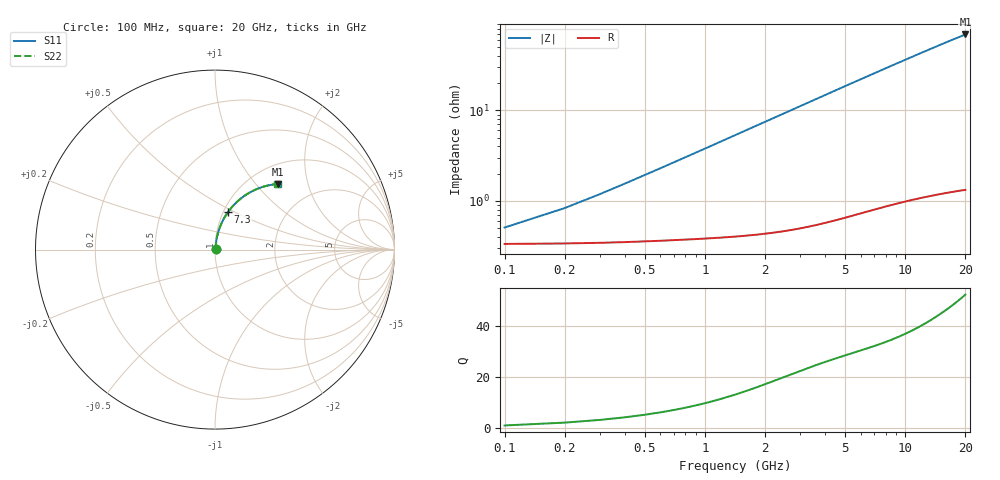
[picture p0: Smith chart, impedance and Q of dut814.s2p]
! Touchstone file exported from HFSS 2026.1.0
!  File:  C:/ffzhzh/LocalFiles/Ansys_Project_Files/temp_train_BSMRDL_814_1783169953_18472.aedt
!  Generated:  09:00:26 PM Jul  4, 2026
!  Design:  BSMRDL
!  Project:  temp_train_BSMRDL_814_1783169953_18472
! Variables:
!  h_bsmrdl = 5.13um
!  h_ox = 20um
!  h_rdl = 5um
!  h_sub = 80um
!  h_tmrdl = 5um
!  h_tsv = 80um
!  h_via = 3um
!  l_bsmrdl = 522.44um
!  l_sub = 922.44um
!  l_tmrdl = 200um
!  m_sub = 200um
!  pitch = 58.15um
!  r_tsv = 6um
!  s_tmrdl = 10um
!  w_bsmrdl = 10.93um
!  w_sub = 500um
!  w_tmrdl = 12um
!  x_tsv_center1 = 206um
!  x_tsv_center2 = 739.37um
!  x_tsv_center3 = 951.37um
!  x_tsv_center4 = 1484.74um
!  x_tsv_center5 = 1696.74um
!  x_tsv_center6 = 2230.11um
# GHz S MA R 50.000000
! Terminal data exported
! Port[1] = BSM_RDL1_1_T1
! Port[2] = BSM_RDL1_1_T2
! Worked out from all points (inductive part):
!   200 points, 100 MHz to 20 GHz, reference 50 ohm
!   read as one part in series: L = 604 pH near 300 MHz
!   highest Q = 52.2 at 20 GHz (marker M1), where L = 549 pH
!   S11 on the Smith chart (normalised r, x): 100 MHz: 1.01, +0.01; 7.3 GHz: 1.05, +0.47; 20 GHz: 1.34, +1.31
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0.1  0.004684 44.4  0.9967 -0.2  0.9967 -0.2  0.004684 44.4
! Gamma 0 0 0 0
! Port Impedance 50 0 50 0
0.2  0.007388 62.4  0.9966 -0.5  0.9966 -0.5  0.007388 62.4
0.3  0.01042 70.1  0.9965 -0.7  0.9965 -0.7  0.01042 70.1
0.4  0.01354 74.1  0.9964 -1.0  0.9964 -1.0  0.01354 74.1
0.5  0.0167 76.5  0.9963 -1.2  0.9963 -1.2  0.0167 76.5
0.7  0.02304 79.1  0.9961 -1.7  0.9961 -1.7  0.02304 79.1
0.8  0.02621 79.9  0.996 -2.0  0.996 -2.0  0.02621 79.9
1  0.03255 80.8  0.9957 -2.4  0.9957 -2.4  0.03255 80.8
1.4  0.04523 81.5  0.995 -3.4  0.995 -3.4  0.04523 81.5
1.7  0.05473 81.5  0.9944 -4.1  0.9944 -4.1  0.05472 81.5
2  0.0642 81.3  0.9937 -4.8  0.9937 -4.8  0.06419 81.3
2.7  0.08615 80.3  0.9916 -6.5  0.9916 -6.5  0.08615 80.3
3.5  0.1109 78.8  0.9886 -8.4  0.9886 -8.4  0.1109 78.8
4.2  0.1323 77.4  0.9854 -10.1  0.9854 -10.1  0.1323 77.4
5  0.1563 75.7  0.9814 -11.9  0.9814 -11.9  0.1563 75.7
6.8  0.2085 71.9  0.9704 -16.0  0.9704 -16.0  0.2085 71.9
7.3  0.2225 70.8  0.967 -17.2  0.967 -17.2  0.2225 70.8
8.6  0.2581 68.0  0.9575 -20.0  0.9575 -20.0  0.2581 68.1
10.1  0.2973 64.9  0.9455 -23.3  0.9455 -23.3  0.2973 64.9
13.4  0.3765 58.3  0.916 -30.1  0.916 -30.1  0.3765 58.4
16.7  0.4456 52.1  0.8842 -36.4  0.8842 -36.4  0.4456 52.2
20  0.5048 46.3  0.8519 -42.4  0.8519 -42.4  0.5048 46.4
